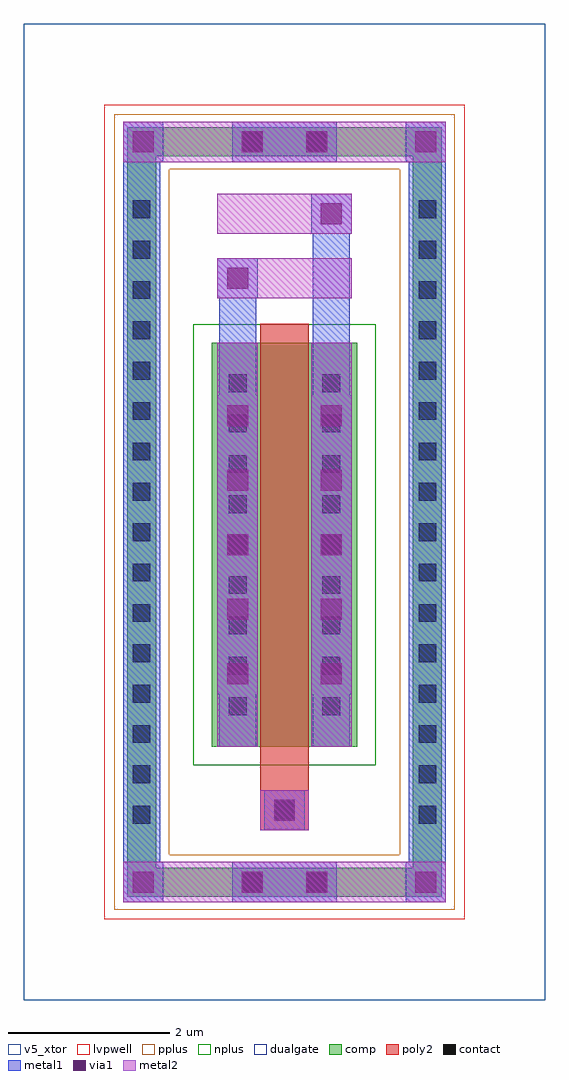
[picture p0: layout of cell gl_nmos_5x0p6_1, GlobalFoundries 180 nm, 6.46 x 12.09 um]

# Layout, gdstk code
import gdstk
lib = gdstk.Library(unit=1e-6, precision=1e-09)
def R(c, l, rs):  # rectangles x0, y0, x1, y1
    for r in rs: c.add(gdstk.rectangle(r[:2], r[2:], *l))
def A(c, l, x, y, w, h, nx, ny, dx, dy):  # array of equal rectangles
    R(c, l, [(x+i*dx, y+j*dy, x+i*dx+w, y+j*dy+h) for i in range(nx) for j in range(ny)])
def P(c, l, *ps):  # polygons
    for p in ps: c.add(gdstk.Polygon(p, *l))
comp = (22, 0)
poly2 = (30, 0)
pplus = (31, 0)
nplus = (32, 0)
contact = (33, 0)
metal1 = (34, 0)
via1 = (35, 0)
metal2 = (36, 0)
dualgate = (55, 0)
v5_xtor = (112, 1)
lvpwell = (204, 0)

gl_nmos_5x0p6_1 = lib.new_cell('gl_nmos_5x0p6_1')
A(gl_nmos_5x0p6_1, comp, -1.95, -3.93, 0.36, 0.36, 1, 16, 0, 0.5)
A(gl_nmos_5x0p6_1, comp, 1.59, -3.93, 0.36, 0.36, 1, 16, 0, 0.5)
R(gl_nmos_5x0p6_1, comp, [(-0.58,-4.765,-0.22,-4.405), (-0.58,-4.765,0.58,-4.405), (0.22,-4.765,0.58,-4.405), (-1.95,-3.93,-1.59,3.93), (1.59,-3.93,1.95,3.93), (-0.9,-2.905,0.9,2.095), (-0.58,4.405,-0.22,4.765), (-0.58,4.405,0.58,4.765), (0.22,4.405,0.58,4.765)])
P(gl_nmos_5x0p6_1, comp, [(-1.95,-4.765),(-1.95,-4.405),(-1.59,-4.405),(1.59,-4.405),(1.59,4.405),(-1.59,4.405),(-1.59,-4.405),(-1.95,-4.405),(-1.95,4.765),(1.95,4.765),(1.95,-4.765)])
R(gl_nmos_5x0p6_1, poly2, [(-0.3,-3.945,0.3,-3.445), (-0.18,-3.875,0.18,-3.515), (-0.3,-3.445,0.3,-3.145), (-0.3,-3.145,0.3,2.335)])
P(gl_nmos_5x0p6_1, pplus, [(-2.11,-4.925),(-2.11,-4.245),(-1.43,-4.245),(1.43,-4.245),(1.43,4.245),(-1.43,4.245),(-1.43,-4.245),(-2.11,-4.245),(-2.11,4.925),(2.11,4.925),(2.11,-4.925)])
R(gl_nmos_5x0p6_1, nplus, [(-1.13,-3.135,1.13,2.325)])
A(gl_nmos_5x0p6_1, contact, -1.88, -3.86, 0.22, 0.22, 1, 16, 0, 0.5)
A(gl_nmos_5x0p6_1, contact, 1.66, -3.86, 0.22, 0.22, 1, 16, 0, 0.5)
A(gl_nmos_5x0p6_1, contact, -0.69, -2.515, 0.22, 0.22, 1, 9, 0, 0.5)
A(gl_nmos_5x0p6_1, contact, 0.47, -2.515, 0.22, 0.22, 1, 9, 0, 0.5)
R(gl_nmos_5x0p6_1, contact, [(-0.51,-4.695,-0.29,-4.475), (0.29,-4.695,0.51,-4.475), (-0.11,-3.805,0.11,-3.585), (-0.51,4.475,-0.29,4.695), (0.29,4.475,0.51,4.695)])
A(gl_nmos_5x0p6_1, metal1, -2, -3.98, 0.46, 0.46, 1, 16, 0, 0.5)
A(gl_nmos_5x0p6_1, metal1, 1.54, -3.98, 0.46, 0.46, 1, 16, 0, 0.5)
A(gl_nmos_5x0p6_1, metal1, -0.81, -2.635, 0.46, 0.46, 1, 9, 0, 0.5)
A(gl_nmos_5x0p6_1, metal1, 0.35, -2.635, 0.46, 0.46, 1, 9, 0, 0.5)
A(gl_nmos_5x0p6_1, metal1, -0.83, -2.255, 0.5, 0.5, 1, 5, 0, 0.8)
A(gl_nmos_5x0p6_1, metal1, 0.33, -2.255, 0.5, 0.5, 1, 5, 0, 0.8)
R(gl_nmos_5x0p6_1, metal1, [(-2,-4.835,-1.5,-4.335), (-2,-4.835,-1.5,-4.335), (-2,-4.835,-1.54,-4.405), (-0.65,-4.835,-0.15,-4.335), (-0.65,-4.835,0.65,-4.335), (0.15,-4.835,0.65,-4.335), (1.5,-4.835,2,-4.335), (1.5,-4.835,2,-4.335), (1.54,-4.835,2,-4.405), (-2,-4.405,-1.54,4.405), (1.54,-4.405,2,4.405), (-0.25,-3.945,0.25,-3.445), (-0.81,-2.905,-0.35,2.095), (0.35,-2.905,0.81,2.095), (-0.83,-2.255,-0.33,1.445), (0.33,-2.255,0.83,1.445), (-0.81,2.095,-0.35,3.145), (0.35,2.095,0.81,3.945), (-0.83,2.645,-0.33,3.145), (0.33,3.445,0.83,3.945), (-2,4.335,-1.5,4.835), (-2,4.335,-1.5,4.835), (-0.65,4.335,-0.15,4.835), (-0.65,4.335,0.65,4.835), (0.15,4.335,0.65,4.835), (1.5,4.335,2,4.835), (1.5,4.335,2,4.835), (-2,4.405,-1.54,4.835), (1.54,4.405,2,4.835)])
A(gl_nmos_5x0p6_1, via1, -0.71, -2.135, 0.26, 0.26, 1, 5, 0, 0.8)
A(gl_nmos_5x0p6_1, via1, 0.45, -2.135, 0.26, 0.26, 1, 5, 0, 0.8)
R(gl_nmos_5x0p6_1, via1, [(-1.88,-4.715,-1.62,-4.455), (-0.53,-4.715,-0.27,-4.455), (0.27,-4.715,0.53,-4.455), (1.62,-4.715,1.88,-4.455), (-0.13,-3.825,0.13,-3.565), (-0.71,2.765,-0.45,3.025), (0.45,3.565,0.71,3.825), (-1.88,4.455,-1.62,4.715), (-0.53,4.455,-0.27,4.715), (0.27,4.455,0.53,4.715), (1.62,4.455,1.88,4.715)])
A(gl_nmos_5x0p6_1, metal2, -0.83, -2.255, 0.5, 0.5, 1, 5, 0, 0.8)
A(gl_nmos_5x0p6_1, metal2, 0.33, -2.255, 0.5, 0.5, 1, 5, 0, 0.8)
R(gl_nmos_5x0p6_1, metal2, [(-2,-4.835,-1.5,-4.335), (-2,-4.835,-1.5,-4.335), (-2,-4.835,-1.59,-4.335), (-1.59,-4.835,1.59,-4.335), (-0.65,-4.835,-0.15,-4.335), (0.15,-4.835,0.65,-4.335), (1.5,-4.835,2,-4.335), (1.5,-4.835,2,-4.335), (1.59,-4.835,2,-4.335), (-0.3,-3.945,0.3,-3.445), (-0.25,-3.945,0.25,-3.445), (-0.83,-2.905,-0.33,2.095), (0.33,-2.905,0.83,2.095), (-0.83,2.645,-0.33,3.145), (-0.83,2.645,0.83,3.145), (-0.83,3.445,0.83,3.945), (0.33,3.445,0.83,3.945), (-2,4.335,-1.5,4.835), (-2,4.335,-1.5,4.835), (-2,4.335,-1.59,4.835), (-1.59,4.335,1.59,4.835), (-0.65,4.335,-0.15,4.835), (0.15,4.335,0.65,4.835), (1.5,4.335,2,4.835), (1.5,4.335,2,4.835), (1.59,4.335,2,4.835)])
R(gl_nmos_5x0p6_1, dualgate, [(-3.23,-6.045,3.23,6.045)])
R(gl_nmos_5x0p6_1, v5_xtor, [(-3.23,-6.045,3.23,6.045)])
R(gl_nmos_5x0p6_1, lvpwell, [(-2.23,-5.045,2.23,5.045)])

lib.write_gds('gl_nmos_5x0p6_1.gds')
